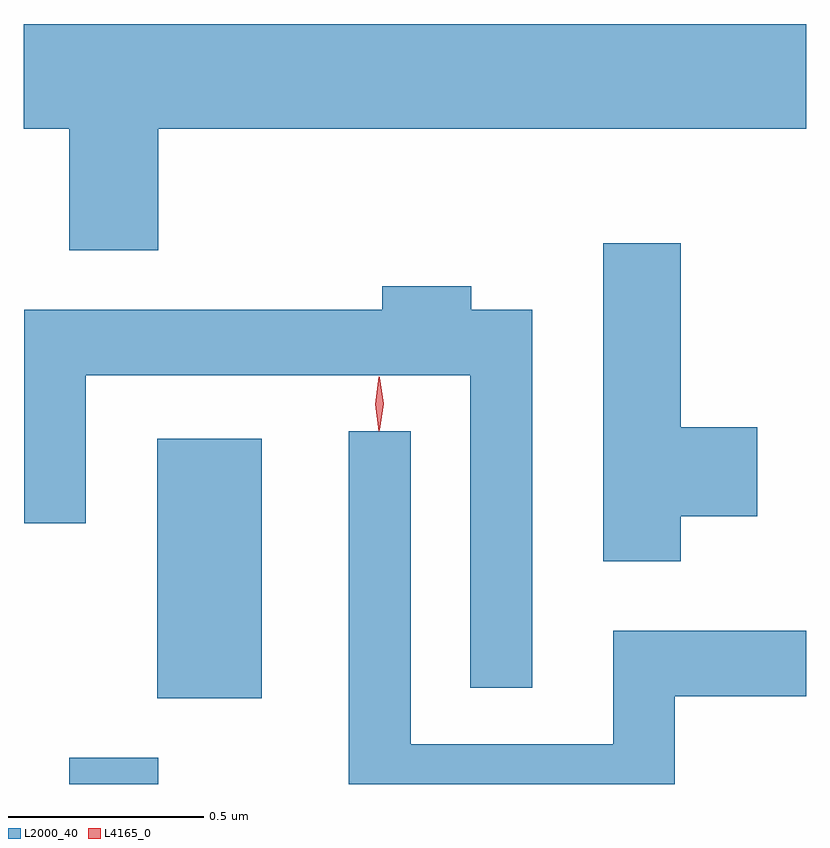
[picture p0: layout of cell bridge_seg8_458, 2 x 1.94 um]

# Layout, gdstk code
import gdstk
lib = gdstk.Library(unit=1e-6, precision=1e-09)
def R(c, l, rs):  # rectangles x0, y0, x1, y1
    for r in rs: c.add(gdstk.rectangle(r[:2], r[2:], *l))
def P(c, l, *ps):  # polygons
    for p in ps: c.add(gdstk.Polygon(p, *l))
L2000_40 = (2000, 40)
L4165_0 = (4165, 0)

bridge_seg8_458 = lib.new_cell('bridge_seg8_458')
R(bridge_seg8_458, L2000_40, [(541.381,1936.862,541.609,1936.929), (541.606,1937.081,541.874,1937.744)])
P(bridge_seg8_458, L2000_40, [(541.609,1938.536),(543.265,1938.536),(543.265,1938.804),(541.265,1938.804),(541.265,1938.536),(541.381,1938.536),(541.381,1938.226),(541.609,1938.226)],
  [(542.944,1937.546),(543.139,1937.546),(543.139,1937.774),(542.944,1937.774),(542.944,1938.244),(542.746,1938.244),(542.746,1937.431),(542.944,1937.431)],
  [(542.564,1938.074),(542.409,1938.074),(542.409,1938.134),(542.181,1938.134),(542.181,1938.074),(541.266,1938.074),(541.266,1937.528),(541.424,1937.528),(541.424,1937.906),(542.406,1937.906),(542.406,1937.108),(542.564,1937.108)],
  [(542.929,1937.086),(543.265,1937.086),(543.265,1937.254),(542.771,1937.254),(542.771,1936.964),(542.254,1936.964),(542.254,1937.763),(542.096,1937.763),(542.096,1936.862),(542.929,1936.862)])
P(bridge_seg8_458, L4165_0, [(542.173,1937.763),(542.173,1937.764),(542.163,1937.833),(542.173,1937.902),(542.173,1937.903),(542.174,1937.902),(542.183,1937.833),(542.174,1937.764)],
  [(542.174,1937.767),(542.165,1937.834),(542.174,1937.9),(542.175,1937.901),(542.175,1937.9),(542.185,1937.834),(542.175,1937.767),(542.175,1937.767)])

lib.write_gds('bridge_seg8_458.gds')
